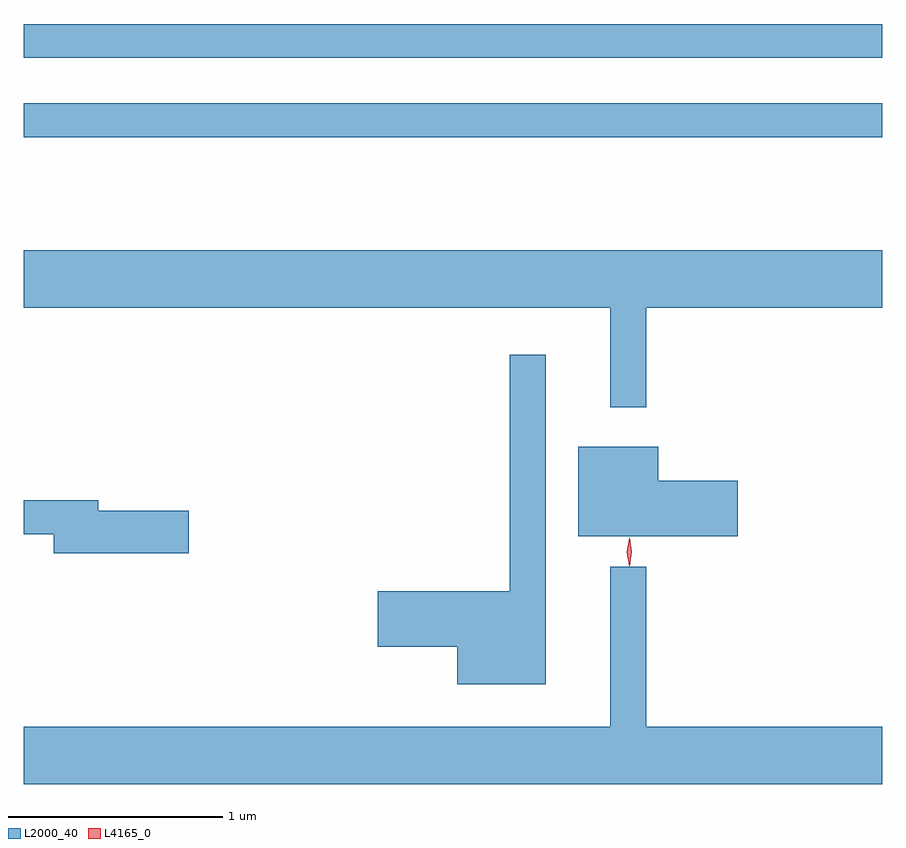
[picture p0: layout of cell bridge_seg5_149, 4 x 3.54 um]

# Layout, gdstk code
import gdstk
lib = gdstk.Library(unit=1e-6, precision=1e-09)
def R(c, l, rs):  # rectangles x0, y0, x1, y1
    for r in rs: c.add(gdstk.rectangle(r[:2], r[2:], *l))
def P(c, l, *ps):  # polygons
    for p in ps: c.add(gdstk.Polygon(p, *l))
L2000_40 = (2000, 40)
L4165_0 = (4165, 0)

bridge_seg5_149 = lib.new_cell('bridge_seg5_149')
R(bridge_seg5_149, L2000_40, [(1086.847,1437.611,1090.847,1437.769), (1086.847,1437.981,1090.847,1438.139)])
P(bridge_seg5_149, L2000_40, [(1089.749,1436.816),(1090.847,1436.816),(1090.847,1437.084),(1086.847,1437.084),(1086.847,1436.816),(1089.581,1436.816),(1089.581,1436.353),(1089.749,1436.353)],
  [(1089.279,1436.598),(1089.111,1436.598),(1089.111,1435.494),(1088.496,1435.494),(1088.496,1435.236),(1088.866,1435.236),(1088.866,1435.061),(1089.279,1435.061)],
  [(1090.174,1436.009),(1089.804,1436.009),(1089.804,1436.169),(1089.431,1436.169),(1089.431,1435.751),(1090.174,1435.751)],
  [(1087.614,1435.869),(1087.194,1435.869),(1087.194,1435.919),(1086.847,1435.919),(1086.847,1435.761),(1086.986,1435.761),(1086.986,1435.671),(1087.614,1435.671)],
  [(1090.847,1434.864),(1089.749,1434.864),(1089.749,1435.608),(1089.581,1435.608),(1089.581,1434.864),(1086.847,1434.864),(1086.847,1434.596),(1090.847,1434.596)])
P(bridge_seg5_149, L4165_0, [(1089.67,1435.61),(1089.661,1435.678),(1089.67,1435.745),(1089.671,1435.746),(1089.671,1435.745),(1089.681,1435.678),(1089.671,1435.61),(1089.671,1435.61)],
  [(1089.668,1435.613),(1089.668,1435.613),(1089.658,1435.676),(1089.668,1435.74),(1089.668,1435.74),(1089.668,1435.74),(1089.678,1435.676),(1089.668,1435.613)])

lib.write_gds('bridge_seg5_149.gds')
